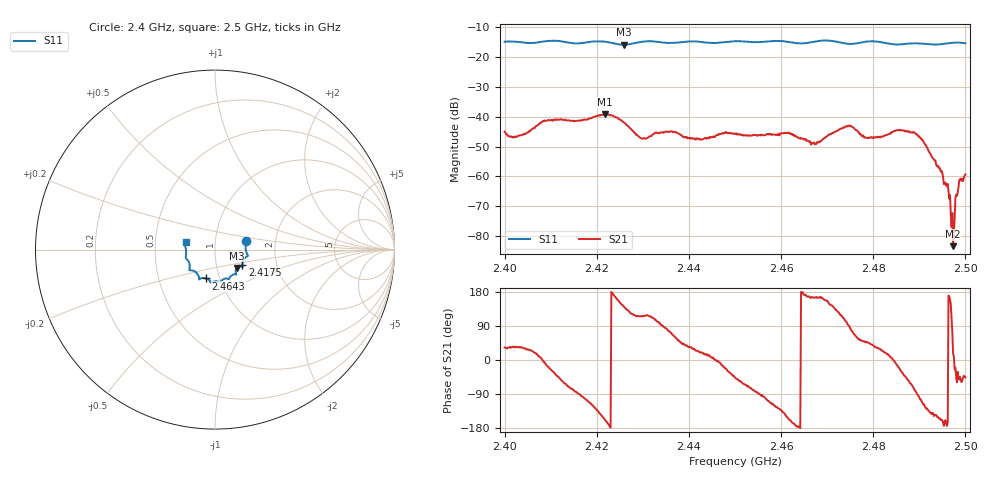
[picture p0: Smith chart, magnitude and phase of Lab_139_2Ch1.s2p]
# Hz S RI R 50
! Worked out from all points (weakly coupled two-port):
!   601 points, 2.4 GHz to 2.5 GHz, reference 50 ohm
!   highest |S21| = -39.19 dB at 2.4218 GHz (marker M1); lowest = -83.3 dB at 2.4973 GHz (marker M2)
!   lowest |S11| = -16.0 dB at 2.4258 GHz (marker M3), VSWR 1.38, Z = 62.3 - j13.2 ohm
!   |S11| at or under -10 dB: start of sweep to end of sweep
!   S12 and S22 are empty: the file has one direction only
!   S11 on the Smith chart (normalised r, x): 2.4 GHz: 1.41, +0.14; 2.4175 GHz: 1.34, -0.23; 2.4643 GHz: 0.86, -0.29; 2.5 GHz: 0.72, +0.06
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2.4e9  0.173 0.0488  0.00469 0.00306  0 0  0 0
2.402167e9  0.1756 0.0397  0.00392 0.00254  0 0  0 0
2.408833e9  0.1805 -0.0279  0.0084 -0.00147  0 0  0 0
2.416667e9  0.1532 -0.0744  -0.000778 -0.00861  0 0  0 0
2.4175e9  0.1522 -0.0839  -0.00191 -0.00879  0 0  0 0
2.421833e9  0.1518 -0.0957  -0.0102 -0.004  0 0  0 0
2.425833e9  0.1216 -0.1031  -0.00636 0.00502  0 0  0 0
2.429667e9  0.1169 -0.1349  -0.00189 0.00393  0 0  0 0
2.433333e9  0.1127 -0.1374  -0.000988 0.00522  0 0  0 0
2.45e9  0.0288 -0.1808  0.00364 -0.00376  0 0  0 0
2.464333e9  -0.05 -0.1608  -0.00439 4.13e-05  0 0  0 0
2.466667e9  -0.0761 -0.1593  -0.00348 0.000854  0 0  0 0
2.4745e9  -0.1018 -0.1309  -0.000368 0.00701  0 0  0 0
2.4785e9  -0.1387 -0.115  0.00305 0.00319  0 0  0 0
2.483333e9  -0.1408 -0.0899  0.00496 0.00116  0 0  0 0
2.486333e9  -0.1513 -0.0604  0.00492 -0.00331  0 0  0 0
2.4905e9  -0.1627 -0.0377  -0.00137 -0.0039  0 0  0 0
2.494667e9  -0.163 0.00626  -0.00112 -0.00045  0 0  0 0
2.496167e9  -0.1673 0.0211  -0.000728 -0.000188  0 0  0 0
2.497333e9  -0.1701 0.0289  6.53e-05 1.94e-05  0 0  0 0
2.4985e9  -0.17 0.0349  0.000436 -0.000491  0 0  0 0
2.5e9  -0.1638 0.0427  0.00076 -0.000766  0 0  0 0
